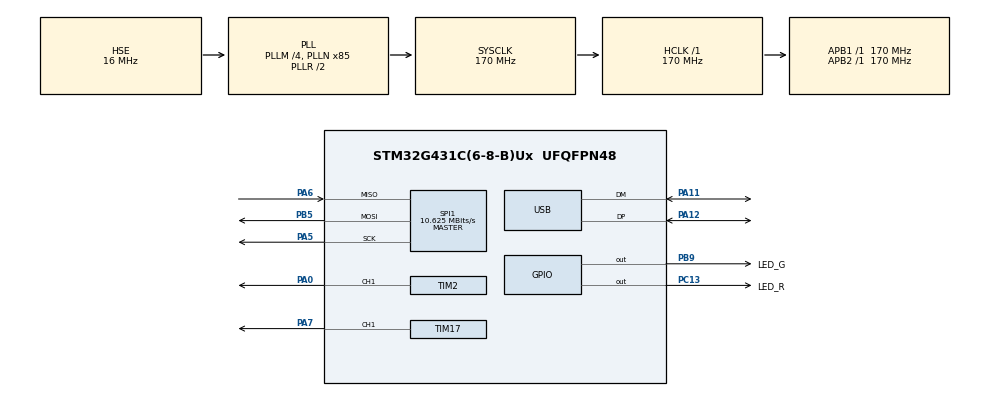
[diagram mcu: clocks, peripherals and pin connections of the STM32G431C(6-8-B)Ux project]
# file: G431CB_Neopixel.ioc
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Dma.Request0=TIM2_CH1
Dma.Request1=TIM17_CH1
Dma.Request2=SPI1_RX
Dma.Request3=SPI1_TX
Dma.SPI1_RX.2.Direction=DMA_PERIPH_TO_MEMORY
Dma.SPI1_RX.2.EventEnable=DISABLE
Dma.SPI1_RX.2.Instance=DMA2_Channel1
Dma.SPI1_RX.2.MemDataAlignment=DMA_MDATAALIGN_HALFWORD
Dma.SPI1_RX.2.MemInc=DMA_MINC_ENABLE
Dma.SPI1_RX.2.Mode=DMA_NORMAL
Dma.SPI1_RX.2.PeriphDataAlignment=DMA_PDATAALIGN_HALFWORD
Dma.SPI1_RX.2.PeriphInc=DMA_PINC_DISABLE
Dma.SPI1_RX.2.Polarity=HAL_DMAMUX_REQ_GEN_RISING
Dma.SPI1_RX.2.Priority=DMA_PRIORITY_LOW
Dma.SPI1_RX.2.RequestNumber=1
Dma.SPI1_RX.2.SignalID=NONE
Dma.SPI1_RX.2.SyncEnable=DISABLE
Dma.SPI1_RX.2.SyncPolarity=HAL_DMAMUX_SYNC_NO_EVENT
Dma.SPI1_RX.2.SyncRequestNumber=1
Dma.SPI1_RX.2.SyncSignalID=NONE
Dma.SPI1_TX.3.Direction=DMA_MEMORY_TO_PERIPH
Dma.SPI1_TX.3.EventEnable=DISABLE
Dma.SPI1_TX.3.Instance=DMA2_Channel2
Dma.SPI1_TX.3.MemDataAlignment=DMA_MDATAALIGN_HALFWORD
Dma.SPI1_TX.3.MemInc=DMA_MINC_ENABLE
Dma.SPI1_TX.3.Mode=DMA_NORMAL
Dma.SPI1_TX.3.PeriphDataAlignment=DMA_PDATAALIGN_HALFWORD
Dma.SPI1_TX.3.PeriphInc=DMA_PINC_DISABLE
Dma.SPI1_TX.3.Polarity=HAL_DMAMUX_REQ_GEN_RISING
Dma.SPI1_TX.3.Priority=DMA_PRIORITY_LOW
Dma.SPI1_TX.3.RequestNumber=1
Dma.SPI1_TX.3.SignalID=NONE
Dma.SPI1_TX.3.SyncEnable=DISABLE
Dma.SPI1_TX.3.SyncPolarity=HAL_DMAMUX_SYNC_NO_EVENT
Dma.SPI1_TX.3.SyncRequestNumber=1
Dma.SPI1_TX.3.SyncSignalID=NONE
Dma.TIM17_CH1.1.Direction=DMA_MEMORY_TO_PERIPH
Dma.TIM17_CH1.1.EventEnable=DISABLE
Dma.TIM17_CH1.1.Instance=DMA1_Channel2
Dma.TIM17_CH1.1.MemDataAlignment=DMA_MDATAALIGN_BYTE
Dma.TIM17_CH1.1.MemInc=DMA_MINC_ENABLE
Dma.TIM17_CH1.1.Mode=DMA_CIRCULAR
Dma.TIM17_CH1.1.PeriphDataAlignment=DMA_PDATAALIGN_WORD
Dma.TIM17_CH1.1.PeriphInc=DMA_PINC_DISABLE
Dma.TIM17_CH1.1.Polarity=HAL_DMAMUX_REQ_GEN_RISING
Dma.TIM17_CH1.1.Priority=DMA_PRIORITY_LOW
Dma.TIM17_CH1.1.RequestNumber=1
Dma.TIM17_CH1.1.SignalID=NONE
Dma.TIM17_CH1.1.SyncEnable=DISABLE
Dma.TIM17_CH1.1.SyncPolarity=HAL_DMAMUX_SYNC_NO_EVENT
Dma.TIM17_CH1.1.SyncRequestNumber=1
Dma.TIM17_CH1.1.SyncSignalID=NONE
Dma.TIM2_CH1.0.Direction=DMA_MEMORY_TO_PERIPH
Dma.TIM2_CH1.0.EventEnable=DISABLE
Dma.TIM2_CH1.0.Instance=DMA1_Channel1
Dma.TIM2_CH1.0.MemDataAlignment=DMA_MDATAALIGN_BYTE
Dma.TIM2_CH1.0.MemInc=DMA_MINC_ENABLE
Dma.TIM2_CH1.0.Mode=DMA_CIRCULAR
Dma.TIM2_CH1.0.PeriphDataAlignment=DMA_PDATAALIGN_WORD
Dma.TIM2_CH1.0.PeriphInc=DMA_PINC_DISABLE
Dma.TIM2_CH1.0.Polarity=HAL_DMAMUX_REQ_GEN_RISING
Dma.TIM2_CH1.0.Priority=DMA_PRIORITY_LOW
Dma.TIM2_CH1.0.RequestNumber=1
Dma.TIM2_CH1.0.SignalID=NONE
Dma.TIM2_CH1.0.SyncEnable=DISABLE
Dma.TIM2_CH1.0.SyncPolarity=HAL_DMAMUX_SYNC_NO_EVENT
Dma.TIM2_CH1.0.SyncRequestNumber=1
Dma.TIM2_CH1.0.SyncSignalID=NONE
FREERTOS.Tasks01=Break_Task,0,128,StartBreak_Task,Default,NULL,Dynamic,NULL,NULL;RainBow_Task,-2,128,StartRainBow_Task,Default,NULL,Dynamic,NULL,NULL;AS504X_Task,-2,128,StartAS504X_Task,Default,NULL,Dynamic,NULL,NULL
Mcu.Family=STM32G4
Mcu.Name=STM32G431C(6-8-B)Ux
Mcu.Package=UFQFPN48
NVIC.DMA1_Channel1_IRQn=true\:5\:0\:false\:false\:true\:true\:false\:true
NVIC.DMA1_Channel2_IRQn=true\:5\:0\:false\:false\:true\:true\:false\:true
NVIC.DMA2_Channel1_IRQn=true\:5\:0\:false\:false\:true\:true\:false\:true
NVIC.DMA2_Channel2_IRQn=true\:5\:0\:false\:false\:true\:true\:false\:true
NVIC.PriorityGroup=NVIC_PRIORITYGROUP_4
NVIC.TIM1_UP_TIM16_IRQn=true\:0\:0\:false\:false\:true\:false\:false\:true
NVIC.TimeBase=TIM1_UP_TIM16_IRQn
NVIC.TimeBaseIP=TIM1
NVIC.USB_LP_IRQn=true\:5\:0\:false\:false\:true\:true\:false\:true
PA0.GPIO_Speed=GPIO_SPEED_FREQ_VERY_HIGH
PA0.Signal=S_TIM2_CH1
PA11.Mode=Device
PA11.Signal=USB_DM
PA12.Mode=Device
PA12.Signal=USB_DP
PA5.GPIO_Speed=GPIO_SPEED_FREQ_VERY_HIGH
PA5.Mode=Full_Duplex_Master
PA5.Signal=SPI1_SCK
PA6.GPIO_Speed=GPIO_SPEED_FREQ_VERY_HIGH
PA6.Mode=Full_Duplex_Master
PA6.Signal=SPI1_MISO
PA7.GPIO_Speed=GPIO_SPEED_FREQ_VERY_HIGH
PA7.Signal=S_TIM17_CH1
PB5.GPIO_Speed=GPIO_SPEED_FREQ_VERY_HIGH
PB5.Mode=Full_Duplex_Master
PB5.Signal=SPI1_MOSI
PB9.GPIO_Label=LED_G
PB9.GPIO_Speed=GPIO_SPEED_FREQ_VERY_HIGH
PB9.Signal=GPIO_Output
PC13.GPIO_Label=LED_R
PC13.Signal=GPIO_Output
PC14-OSC32_IN.Mode=LSE-External-Oscillator
PC14-OSC32_IN.Signal=RCC_OSC32_IN
PC15-OSC32_OUT.Mode=LSE-External-Oscillator
PC15-OSC32_OUT.Signal=RCC_OSC32_OUT
PF0-OSC_IN.Mode=HSE-External-Oscillator
PF0-OSC_IN.Signal=RCC_OSC_IN
PF1-OSC_OUT.Mode=HSE-External-Oscillator
PF1-OSC_OUT.Signal=RCC_OSC_OUT
ProjectManager.HeapSize=0x200
ProjectManager.StackSize=0x400
ProjectManager.TargetToolchain=STM32CubeIDE
RCC.ADC12Freq_Value=170000000
RCC.AHBFreq_Value=170000000
RCC.APB1Freq_Value=170000000
RCC.APB1TimFreq_Value=170000000
RCC.APB2Freq_Value=170000000
RCC.APB2TimFreq_Value=170000000
RCC.CK48CLockSelection=RCC_USBCLKSOURCE_HSI48
RCC.CortexFreq_Value=170000000
RCC.EXTERNAL_CLOCK_VALUE=12288000
RCC.HCLKFreq_Value=170000000
RCC.HSE_VALUE=16000000
RCC.HSI48_VALUE=48000000
RCC.HSI_VALUE=16000000
RCC.PLLM=RCC_PLLM_DIV4
RCC.PLLN=85
RCC.PLLSourceVirtual=RCC_PLLSOURCE_HSE
RCC.SYSCLKFreq_VALUE=170000000
RCC.SYSCLKSource=RCC_SYSCLKSOURCE_PLLCLK
RCC.USBFreq_Value=48000000
RCC.VCOOutputFreq_Value=340000000
SH.S_TIM17_CH1.0=TIM17_CH1,PWM Generation1 CH1
SH.S_TIM2_CH1.0=TIM2_CH1,PWM Generation1 CH1
SPI1.BaudRatePrescaler=SPI_BAUDRATEPRESCALER_16
SPI1.CLKPhase=SPI_PHASE_2EDGE
SPI1.CalculateBaudRate=10.625 MBits/s
SPI1.DataSize=SPI_DATASIZE_16BIT
SPI1.Direction=SPI_DIRECTION_2LINES
SPI1.Mode=SPI_MODE_MASTER
SPI1.VirtualType=VM_MASTER
TIM17.Channel=TIM_CHANNEL_1
TIM17.PeriodNoDither=212
TIM17.RepetitionCounter=0
TIM2.Channel-PWM\ Generation1\ CH1=TIM_CHANNEL_1
TIM2.PeriodNoDither=212
USB_DEVICE.CLASS_NAME_FS=CDC
USB_DEVICE.VirtualMode=Cdc
USB_DEVICE.VirtualModeFS=Cdc_FS
VP_FREERTOS_VS_CMSIS_V1.Mode=CMSIS_V1
VP_SYS_VS_DBSignals.Mode=DisableDeadBatterySignals
VP_SYS_VS_tim1.Mode=TIM1
VP_TIM17_VS_ClockSourceINT.Mode=Enable_Timer
VP_USB_DEVICE_VS_USB_DEVICE_CDC_FS.Mode=CDC_FS
board=custom

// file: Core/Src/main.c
/* USER CODE BEGIN Header */
/**
  ******************************************************************************
  * @file           : main.c
  * @brief          : Main program body
  ******************************************************************************
  * @attention
  *
  * <h2><center>&copy; Copyright (c) 2020 STMicroelectronics.
  * All rights reserved.</center></h2>
  *
  * This software component is licensed by ST under BSD 3-Clause license,
  * the "License"; You may not use this file except in compliance with the
  * License. You may obtain a copy of the License at:
  *                        opensource.org/licenses/BSD-3-Clause
  *
  ******************************************************************************
  */
/* USER CODE END Header */

#include "main.h"
#include "cmsis_os.h"
#include "usb_device.h"

/* USER CODE BEGIN Includes */
#include "ws2812.h"
#include <stdlib.h>
/* USER CODE END Includes */

/* USER CODE BEGIN PD */
#define B_LED_CNT 20
#define R_LED_CNT 128

#define INT_BITS 	20								//INT_SIZE * 8 - 1   // Size of int in bits - 1
bool g_break_flg = false;
uint32_t g_speed = 0;
/* USER CODE END PD */

SPI_HandleTypeDef hspi1;
DMA_HandleTypeDef hdma_spi1_rx;
DMA_HandleTypeDef hdma_spi1_tx;

TIM_HandleTypeDef htim2;
TIM_HandleTypeDef htim17;
DMA_HandleTypeDef hdma_tim2_ch1;
DMA_HandleTypeDef hdma_tim17_ch1;

osThreadId Break_TaskHandle;
osThreadId RainBow_TaskHandle;
osThreadId AS504X_TaskHandle;

void SystemClock_Config(void);
static void MX_GPIO_Init(void);
static void MX_DMA_Init(void);
static void MX_TIM2_Init(void);
static void MX_SPI1_Init(void);
static void MX_TIM17_Init(void);
void StartBreak_Task(void const * argument);
void StartRainBow_Task(void const * argument);
void StartAS504X_Task(void const * argument);

int main(void)
{

  /* MCU Configuration--------------------------------------------------------*/

  /* Reset of all peripherals, Initializes the Flash interface and the Systick. */
  HAL_Init();

  /* Configure the system clock */
  SystemClock_Config();

  /* Initialize all configured peripherals */
  MX_GPIO_Init();
  MX_DMA_Init();
  MX_TIM2_Init();
  MX_USB_Device_Init();
  MX_SPI1_Init();
  MX_TIM17_Init();
  /* USER CODE BEGIN 2 */
  ws2812Init();
  ws2812Begin(B_LED_CNT, R_LED_CNT);

	//uint32_t led_index=0;
  /* USER CODE END 2 */

  /* Create the thread(s) */
  /* definition and creation of Break_Task */
  osThreadDef(Break_Task, StartBreak_Task, osPriorityNormal, 0, 128);
  Break_TaskHandle = osThreadCreate(osThread(Break_Task), NULL);

  /* definition and creation of RainBow_Task */
  osThreadDef(RainBow_Task, StartRainBow_Task, osPriorityLow, 0, 128);
  RainBow_TaskHandle = osThreadCreate(osThread(RainBow_Task), NULL);

  /* definition and creation of AS504X_Task */
  osThreadDef(AS504X_Task, StartAS504X_Task, osPriorityLow, 0, 128);
  AS504X_TaskHandle = osThreadCreate(osThread(AS504X_Task), NULL);

  /* Start scheduler */
  osKernelStart();

  /* We should never get here as control is now taken by the scheduler */
  /* Infinite loop */
  while (1)
  {

  }
}

void SystemClock_Config(void)
{
  RCC_OscInitTypeDef RCC_OscInitStruct = {0};
  RCC_ClkInitTypeDef RCC_ClkInitStruct = {0};
  RCC_PeriphCLKInitTypeDef PeriphClkInit = {0};

  /** Configure the main internal regulator output voltage
  */
  HAL_PWREx_ControlVoltageScaling(PWR_REGULATOR_VOLTAGE_SCALE1_BOOST);
  /** Initializes the CPU, AHB and APB busses clocks
  */
  RCC_OscInitStruct.OscillatorType = RCC_OSCILLATORTYPE_HSI48|RCC_OSCILLATORTYPE_HSE;
  RCC_OscInitStruct.HSEState = RCC_HSE_ON;
  RCC_OscInitStruct.HSI48State = RCC_HSI48_ON;
  RCC_OscInitStruct.PLL.PLLState = RCC_PLL_ON;
  RCC_OscInitStruct.PLL.PLLSource = RCC_PLLSOURCE_HSE;
  RCC_OscInitStruct.PLL.PLLM = RCC_PLLM_DIV4;
  RCC_OscInitStruct.PLL.PLLN = 85;
  RCC_OscInitStruct.PLL.PLLP = RCC_PLLP_DIV2;
  RCC_OscInitStruct.PLL.PLLQ = RCC_PLLQ_DIV2;
  RCC_OscInitStruct.PLL.PLLR = RCC_PLLR_DIV2;
  if (HAL_RCC_OscConfig(&RCC_OscInitStruct) != HAL_OK)
  {
    Error_Handler();
  }
  /** Initializes the CPU, AHB and APB busses clocks
  */
  RCC_ClkInitStruct.ClockType = RCC_CLOCKTYPE_HCLK|RCC_CLOCKTYPE_SYSCLK
                              |RCC_CLOCKTYPE_PCLK1|RCC_CLOCKTYPE_PCLK2;
  RCC_ClkInitStruct.SYSCLKSource = RCC_SYSCLKSOURCE_PLLCLK;
  RCC_ClkInitStruct.AHBCLKDivider = RCC_SYSCLK_DIV1;
  RCC_ClkInitStruct.APB1CLKDivider = RCC_HCLK_DIV1;
  RCC_ClkInitStruct.APB2CLKDivider = RCC_HCLK_DIV1;

  if (HAL_RCC_ClockConfig(&RCC_ClkInitStruct, FLASH_LATENCY_8) != HAL_OK)
  {
    Error_Handler();
  }
  /** Initializes the peripherals clocks
  */
  PeriphClkInit.PeriphClockSelection = RCC_PERIPHCLK_USB;
  PeriphClkInit.UsbClockSelection = RCC_USBCLKSOURCE_HSI48;
  if (HAL_RCCEx_PeriphCLKConfig(&PeriphClkInit) != HAL_OK)
  {
    Error_Handler();
  }
}

static void MX_SPI1_Init(void)
{

  /* SPI1 parameter configuration*/
  hspi1.Instance = SPI1;
  hspi1.Init.Mode = SPI_MODE_MASTER;
  hspi1.Init.Direction = SPI_DIRECTION_2LINES;
  hspi1.Init.DataSize = SPI_DATASIZE_16BIT;
  hspi1.Init.CLKPolarity = SPI_POLARITY_LOW;
  hspi1.Init.CLKPhase = SPI_PHASE_2EDGE;
  hspi1.Init.NSS = SPI_NSS_SOFT;
  hspi1.Init.BaudRatePrescaler = SPI_BAUDRATEPRESCALER_16;
  hspi1.Init.FirstBit = SPI_FIRSTBIT_MSB;
  hspi1.Init.TIMode = SPI_TIMODE_DISABLE;
  hspi1.Init.CRCCalculation = SPI_CRCCALCULATION_DISABLE;
  hspi1.Init.CRCPolynomial = 7;
  hspi1.Init.CRCLength = SPI_CRC_LENGTH_DATASIZE;
  hspi1.Init.NSSPMode = SPI_NSS_PULSE_DISABLE;
  if (HAL_SPI_Init(&hspi1) != HAL_OK)
  {
    Error_Handler();
  }

}

static void MX_TIM2_Init(void)
{

  TIM_MasterConfigTypeDef sMasterConfig = {0};
  TIM_OC_InitTypeDef sConfigOC = {0};

  htim2.Instance = TIM2;
  htim2.Init.Prescaler = 0;
  htim2.Init.CounterMode = TIM_COUNTERMODE_UP;
  htim2.Init.Period = 212;
  htim2.Init.ClockDivision = TIM_CLOCKDIVISION_DIV1;
  htim2.Init.AutoReloadPreload = TIM_AUTORELOAD_PRELOAD_DISABLE;
  if (HAL_TIM_PWM_Init(&htim2) != HAL_OK)
  {
    Error_Handler();
  }
  sMasterConfig.MasterOutputTrigger = TIM_TRGO_RESET;
  sMasterConfig.MasterSlaveMode = TIM_MASTERSLAVEMODE_DISABLE;
  if (HAL_TIMEx_MasterConfigSynchronization(&htim2, &sMasterConfig) != HAL_OK)
  {
    Error_Handler();
  }
  sConfigOC.OCMode = TIM_OCMODE_PWM1;
  sConfigOC.Pulse = 0;
  sConfigOC.OCPolarity = TIM_OCPOLARITY_HIGH;
  sConfigOC.OCFastMode = TIM_OCFAST_DISABLE;
  if (HAL_TIM_PWM_ConfigChannel(&htim2, &sConfigOC, TIM_CHANNEL_1) != HAL_OK)
  {
    Error_Handler();
  }
  HAL_TIM_MspPostInit(&htim2);

}

static void MX_TIM17_Init(void)
{

  TIM_OC_InitTypeDef sConfigOC = {0};
  TIM_BreakDeadTimeConfigTypeDef sBreakDeadTimeConfig = {0};

  htim17.Instance = TIM17;
  htim17.Init.Prescaler = 0;
  htim17.Init.CounterMode = TIM_COUNTERMODE_UP;
  htim17.Init.Period = 212;
  htim17.Init.ClockDivision = TIM_CLOCKDIVISION_DIV1;
  htim17.Init.RepetitionCounter = 0;
  htim17.Init.AutoReloadPreload = TIM_AUTORELOAD_PRELOAD_DISABLE;
  if (HAL_TIM_Base_Init(&htim17) != HAL_OK)
  {
    Error_Handler();
  }
  if (HAL_TIM_PWM_Init(&htim17) != HAL_OK)
  {
    Error_Handler();
  }
  sConfigOC.OCMode = TIM_OCMODE_PWM1;
  sConfigOC.Pulse = 0;
  sConfigOC.OCPolarity = TIM_OCPOLARITY_HIGH;
  sConfigOC.OCNPolarity = TIM_OCNPOLARITY_HIGH;
  sConfigOC.OCFastMode = TIM_OCFAST_DISABLE;
  sConfigOC.OCIdleState = TIM_OCIDLESTATE_RESET;
  sConfigOC.OCNIdleState = TIM_OCNIDLESTATE_RESET;
  if (HAL_TIM_PWM_ConfigChannel(&htim17, &sConfigOC, TIM_CHANNEL_1) != HAL_OK)
  {
    Error_Handler();
  }
  sBreakDeadTimeConfig.OffStateRunMode = TIM_OSSR_DISABLE;
  sBreakDeadTimeConfig.OffStateIDLEMode = TIM_OSSI_DISABLE;
  sBreakDeadTimeConfig.LockLevel = TIM_LOCKLEVEL_OFF;
  sBreakDeadTimeConfig.DeadTime = 0;
  sBreakDeadTimeConfig.BreakState = TIM_BREAK_DISABLE;
  sBreakDeadTimeConfig.BreakPolarity = TIM_BREAKPOLARITY_HIGH;
  sBreakDeadTimeConfig.BreakFilter = 0;
  sBreakDeadTimeConfig.AutomaticOutput = TIM_AUTOMATICOUTPUT_DISABLE;
  if (HAL_TIMEx_ConfigBreakDeadTime(&htim17, &sBreakDeadTimeConfig) != HAL_OK)
  {
    Error_Handler();
  }
  HAL_TIM_MspPostInit(&htim17);

}

static void MX_DMA_Init(void)
{

  /* DMA controller clock enable */
  __HAL_RCC_DMAMUX1_CLK_ENABLE();
  __HAL_RCC_DMA1_CLK_ENABLE();
  __HAL_RCC_DMA2_CLK_ENABLE();

  /* DMA interrupt init */
  /* DMA1_Channel1_IRQn interrupt configuration */
  HAL_NVIC_SetPriority(DMA1_Channel1_IRQn, 5, 0);
  HAL_NVIC_EnableIRQ(DMA1_Channel1_IRQn);
  /* DMA1_Channel2_IRQn interrupt configuration */
  HAL_NVIC_SetPriority(DMA1_Channel2_IRQn, 5, 0);
  HAL_NVIC_EnableIRQ(DMA1_Channel2_IRQn);
  /* DMA2_Channel1_IRQn interrupt configuration */
  HAL_NVIC_SetPriority(DMA2_Channel1_IRQn, 5, 0);
  HAL_NVIC_EnableIRQ(DMA2_Channel1_IRQn);
  /* DMA2_Channel2_IRQn interrupt configuration */
  HAL_NVIC_SetPriority(DMA2_Channel2_IRQn, 5, 0);
  HAL_NVIC_EnableIRQ(DMA2_Channel2_IRQn);

}

static void MX_GPIO_Init(void)
{
  GPIO_InitTypeDef GPIO_InitStruct = {0};

  /* GPIO Ports Clock Enable */
  __HAL_RCC_GPIOC_CLK_ENABLE();
  __HAL_RCC_GPIOF_CLK_ENABLE();
  __HAL_RCC_GPIOA_CLK_ENABLE();
  __HAL_RCC_GPIOB_CLK_ENABLE();

  /*Configure GPIO pin Output Level */
  HAL_GPIO_WritePin(LED_R_GPIO_Port, LED_R_Pin, GPIO_PIN_RESET);

  /*Configure GPIO pin Output Level */
  HAL_GPIO_WritePin(LED_G_GPIO_Port, LED_G_Pin, GPIO_PIN_RESET);

  /*Configure GPIO pin : LED_R_Pin */
  GPIO_InitStruct.Pin = LED_R_Pin;
  GPIO_InitStruct.Mode = GPIO_MODE_OUTPUT_PP;
  GPIO_InitStruct.Pull = GPIO_NOPULL;
  GPIO_InitStruct.Speed = GPIO_SPEED_FREQ_LOW;
  HAL_GPIO_Init(LED_R_GPIO_Port, &GPIO_InitStruct);

  /*Configure GPIO pin : LED_G_Pin */
  GPIO_InitStruct.Pin = LED_G_Pin;
  GPIO_InitStruct.Mode = GPIO_MODE_OUTPUT_PP;
  GPIO_InitStruct.Pull = GPIO_NOPULL;
  GPIO_InitStruct.Speed = GPIO_SPEED_FREQ_VERY_HIGH;
  HAL_GPIO_Init(LED_G_GPIO_Port, &GPIO_InitStruct);

}

/* USER CODE BEGIN 4 */
void delay(uint32_t ms)
{
  HAL_Delay(ms);
}

uint32_t millis(void)
{
  return HAL_GetTick();
}

/**
 * Function to rotate bits of a number to left.
 *
 * @num         Number to rotate.
 * @rotation    Number of times to rotate left.
 */
int rotateLeft(int num, unsigned int rotation)
{
    int DROPPED_MSB;

    // The effective rotation
    rotation %= INT_BITS;

    // Loop till rotation becomes 0
    while(rotation--)
    {
        // Get MSB of num before it gets dropped
        DROPPED_MSB = (num >> INT_BITS) & 1;

        // Left rotate num by 1 and
        // Set its dropped MSB as new LSB
        num = (num << 1) | DROPPED_MSB;
    }

    return num;
}

/**
 * Function to rotate bits of a number to right.
 *
 * @num         Number to rotate.
 * @rotation    Number of times to rotate right.
 */
int rotateRight(int num, unsigned int rotation)
{
    int DROPPED_LSB;

    // The effective rotation
    rotation %= INT_BITS;

    // Loop till rotation becomes 0
    while(rotation--)
    {
        // Get LSB of num before it gets dropped
        DROPPED_LSB = num & 1;

        // Right shift num by 1 and
        // Clear its MSB
        num = (num >> 1) & (~(1 << INT_BITS));

        // Set its dropped LSB as new MSB
        num = num | (DROPPED_LSB << INT_BITS);
    }

    return num;
}
/* USER CODE END 4 */

void StartBreak_Task(void const * argument)
{
  /* USER CODE BEGIN 5 */
  /* Infinite loop */
  uint32_t pre_time = 0;
  uint32_t led_time = 200;
	uint32_t firstled = 0;
	uint32_t halfled = 0;
	uint32_t led_index = 0;
	uint32_t led_mask= 0b1110000111;

	bool led_flg=false;
	uint32_t led_count = 0;
  for(;;)
  {

		if(millis()-pre_time >= led_time)
		{
			pre_time = millis();
			if(g_break_flg == false) {
				/*
				if(g_speed < 1000) {
					led_time = 200;
				}
				else {
					led_time = 50;
				}*/
				led_time = g_speed/10;
				if(led_time < 50)
					led_time = 50;
				led_count = 0;
				firstled = rotateLeft(led_mask, led_index%B_LED_CNT);
				halfled = rotateRight(led_mask, led_index%B_LED_CNT);

				led_index++;
				for(uint32_t j=0; j<12; j++) {
					if( firstled >> j & 0x01){
							ws2812SetColor(j, 255, 255, 255);
					}else {
						ws2812SetColor(j, 0, 0, 0);
					}
				}
				for(uint32_t j=20; j>11; j--) {
					if( halfled >> (j-11) & 0x01){
							ws2812SetColor(j, 255, 255, 255);
					}else {
						ws2812SetColor(j, 0, 0, 0);
					}
				}
			}
			else{ // break
				led_count++;
				if(led_count > 30) {
					led_time = 500;
				}else {
					led_time = 50;
				}
				if(led_count > 40) {
						//led_count = 0;
						g_break_flg =false;
				}

				if(led_flg) {
					for(int i = 0; i < B_LED_CNT; i++) {
						ws2812SetColor(i, 255, 0, 0);
						led_flg = false;
					}
				}else {
					for(int i = 0; i < B_LED_CNT; i++) {
						ws2812SetColor(i, 0, 0, 0);
						led_flg = true;
					}
				}
			}
		}
    osDelay(1);
  }
  /* USER CODE END 5 */
}

void StartRainBow_Task(void const * argument)
{
  /* USER CODE BEGIN StartRainBow_Task */
  /* Infinite loop */
	uint32_t rainbow_pre_time=0;
	uint32_t rainbow_led_time=10;
	bool led_flg=false;
	uint32_t led_count = 0;
	for(;;)
	{
		uint16_t i, j;
		for(j=0; j<256*5;) { // 5 cycles of all colors on wheel
			if(millis()-rainbow_pre_time >= rainbow_led_time)
			{
				rainbow_pre_time = millis();
				j++;
				led_count = 0;
				rainbow_led_time = 10;
				if(g_break_flg == false) {
					led_count = 0;
					for(i=0; i< R_LED_CNT; i++) {
						setPixelColor(i, Wheel(((i * 256 / R_LED_CNT) + j) & 255));
					}
				}
				else{ // break
					led_count++;
					if(led_count > 30) {
						rainbow_led_time = 500;
					}else {
						rainbow_led_time = 50;
					}
					if(led_count > 40) {
							//led_count = 0;
							g_break_flg =false;
					}

					if(led_flg) {
						for(int i = 0; i < B_LED_CNT; i++) {
							setPixelColor(i, 0xff0000);
							led_flg = false;
						}
					}else {
						for(int i = 0; i < B_LED_CNT; i++) {
							setPixelColor(i, 0);
							led_flg = true;
						}
					}
				}
			}
		}
		osDelay(1);
	}
  /* USER CODE END StartRainBow_Task */
}

void StartAS504X_Task(void const * argument)
{
  /* USER CODE BEGIN StartAS504X_Task */
  /* Infinite loop */
  uint32_t Task03_pre_time = 0;
  uint32_t Task03_led_time = 100;
  uint32_t speed = 0;
  for(;;)
  {
		if (millis()-Task03_pre_time >= Task03_led_time)
		{
			Task03_pre_time = millis();
			g_speed += 10;
			if(g_speed>1000) {
				g_speed = 0;
			}
			if(g_break_flg == false) {
				//g_break_flg = true;
			}
			else {
				g_break_flg = false;
			}
		}
    osDelay(1);
  }
  /* USER CODE END StartAS504X_Task */
}

 /**
  * @brief  Period elapsed callback in non blocking mode
  * @note   This function is called  when TIM1 interrupt took place, inside
  * HAL_TIM_IRQHandler(). It makes a direct call to HAL_IncTick() to increment
  * a global variable "uwTick" used as application time base.
  * @param  htim : TIM handle
  * @retval None
  */
void HAL_TIM_PeriodElapsedCallback(TIM_HandleTypeDef *htim)
{
  if (htim->Instance == TIM1) {
    HAL_IncTick();
  }
}

void Error_Handler(void)
{
}

/************************ (C) COPYRIGHT STMicroelectronics *****END OF FILE****/
